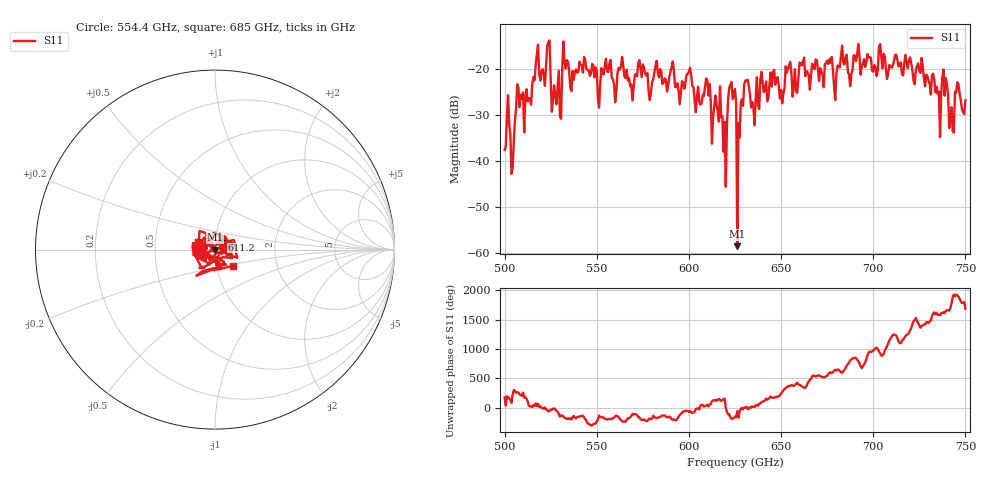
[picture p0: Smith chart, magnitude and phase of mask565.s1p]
!Created with skrf (http://scikit-rf.org).
# GHz S MA R 50.0
!freq magS11 angS11
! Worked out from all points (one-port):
!   401 points, 500 GHz to 750 GHz, reference 50 ohm
!   lowest |S11| = -58.4 dB at 626.2 GHz (marker M1), VSWR 1.00, Z = 50.1 - j0.103 ohm
!   |S11| at or under -10 dB: start of sweep to end of sweep
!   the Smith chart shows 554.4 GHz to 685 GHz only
!   S11 on the Smith chart (normalised r, x): 554.4 GHz: 0.81, +0.04; 611.2 GHz: 1.08, +0.12; 685 GHz: 1.20, -0.22
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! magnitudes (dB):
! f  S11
! 500 GHz  -37.6
! 504.4 GHz  -41.5
! 507.5 GHz  -24.0
! 513.8 GHz  -26.4
! 516.9 GHz  -19.2
! 523.8 GHz  -14.2
! 526.9 GHz  -23.6
! 531.2 GHz  -20.1
! 533.1 GHz  -19.9
! 554.4 GHz  -19.2
! 562.5 GHz  -20.2
! 593.8 GHz  -23.1
! 611.2 GHz  -23.3
! 619.4 GHz  -31.5
! 623.8 GHz  -26.6
! 625 GHz  -24.4
! 626.2 GHz  -58.4
! 631.2 GHz  -22.6
! 635 GHz  -28.5
! 656.2 GHz  -26.0
! 685 GHz  -17.4
! 687.5 GHz  -23.7
! 718.8 GHz  -19.9
! 735 GHz  -25.4
! 738.8 GHz  -25.8
! 742.5 GHz  -28.3
! 745.6 GHz  -22.9
! 750 GHz  -26.8
